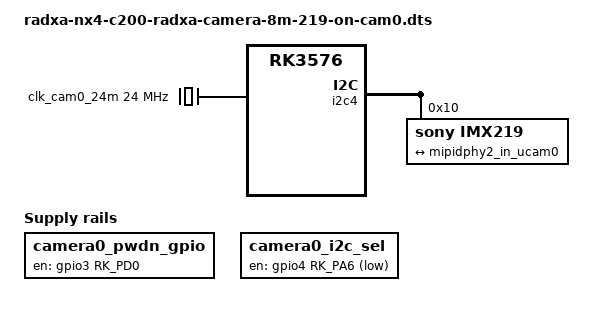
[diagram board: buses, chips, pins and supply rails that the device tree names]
/dts-v1/;
/plugin/;

#include <dt-bindings/gpio/gpio.h>
#include <dt-bindings/pinctrl/rockchip.h>
#include "rk3576-csi2_dphy2.dtsi"

/ {
	metadata {
		title ="Enable Radxa Camera 8M 219 on CAM0";
		compatible = "radxa,nx4-c200";
		category = "camera";
		exclusive = "GPIO3_D0", "csi2_dphy2", "i2c4@10";
		description = "Enable Radxa Camera 8M 219 on CAM0.";
	};
};

&{/} {
	camera0_pwdn_gpio: camera0-pwdn-gpio {
		compatible = "regulator-fixed";
		regulator-name = "camera0_pwdn_gpio";
		regulator-always-on;
		regulator-boot-on;
		enable-active-high;
		gpio = <&gpio3 RK_PD0 GPIO_ACTIVE_HIGH>;
		pinctrl-names = "default";
		pinctrl-0 = <&cam0_pwdn_gpio>;
	};

	camera0_i2c_sel: camera0-i2c-sel {
		compatible = "regulator-fixed";
		regulator-name = "camera0_i2c_sel";
		regulator-always-on;
		regulator-boot-on;
		enable-active-low;
		gpio = <&gpio4 RK_PA6 GPIO_ACTIVE_LOW>;
		pinctrl-names = "default";
		pinctrl-0 = <&cam0_i2c_sel_gpio>;
	};

	clk_cam0_24m: external-camera0-clock-24m {
		compatible = "fixed-clock";
		clock-frequency = <24000000>;
		clock-output-names = "clk_cam0_24m";
		#clock-cells = <0>;
	};
};

&i2c4 {
	status = "okay";
	pinctrl-0 = <&i2c4m2_xfer>;
	#address-cells = <1>;
	#size-cells = <0>;

	imx219: imx219@10 {
		status = "okay";
		compatible = "sony,imx219";
		reg = <0x10>;
		clocks = <&clk_cam0_24m>;
		clock-names = "xvclk";
		rockchip,camera-module-index = <0>;
		rockchip,camera-module-facing = "back";
		rockchip,camera-module-name = "RADXA-CAMERA-8M";
		rockchip,camera-module-lens-name = "default";

		port {
			mipidphy2_out0: endpoint {
				remote-endpoint = <&mipidphy2_in_ucam0>;
				data-lanes = <1 2>;
			};
		};
	};
};

&pinctrl {
	camera {
		cam0_pwdn_gpio: cam0-pwdn-gpio {
			rockchip,pins = <3 RK_PD0 RK_FUNC_GPIO &pcfg_pull_up>;
		};

		cam0_i2c_sel_gpio: cam0-i2c-sel-gpio {
			rockchip,pins = <4 RK_PA6 RK_FUNC_GPIO &pcfg_pull_up>;
		};
	};
};
